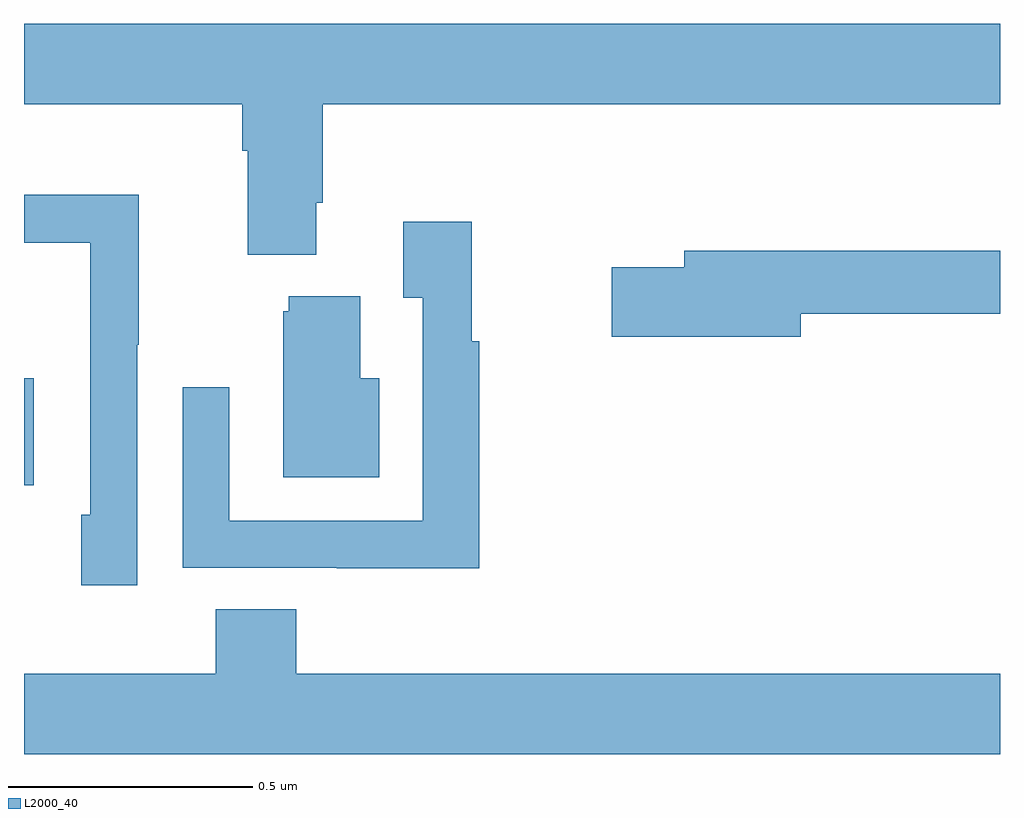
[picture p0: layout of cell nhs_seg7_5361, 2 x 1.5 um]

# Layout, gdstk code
import gdstk
lib = gdstk.Library(unit=1e-6, precision=1e-09)
def R(c, l, rs):  # rectangles x0, y0, x1, y1
    for r in rs: c.add(gdstk.rectangle(r[:2], r[2:], *l))
def P(c, l, *ps):  # polygons
    for p in ps: c.add(gdstk.Polygon(p, *l))
L2000_40 = (2000, 40)

nhs_seg7_5361 = lib.new_cell('nhs_seg7_5361')
R(nhs_seg7_5361, L2000_40, [(185,1003.831,185.02,1004.05)])
P(nhs_seg7_5361, L2000_40, [(185.599,1004.41),(185.612,1004.41),(185.612,1004.612),(187,1004.612),(187,1004.776),(185,1004.776),(185,1004.612),(185.447,1004.612),(185.447,1004.516),(185.459,1004.516),(185.459,1004.303),(185.599,1004.303)],
  [(185.232,1004.119),(185.235,1004.119),(185.235,1004.426),(185,1004.426),(185,1004.328),(185.136,1004.328),(185.136,1003.77),(185.117,1003.77),(185.117,1003.626),(185.232,1003.626)],
  [(185.933,1004.126),(185.918,1004.126),(185.918,1004.371),(185.777,1004.371),(185.777,1004.215),(185.817,1004.215),(185.817,1003.758),(185.421,1003.758),(185.421,1004.032),(185.325,1004.032),(185.325,1003.662),(185.641,1003.662),(185.641,1003.661),(185.933,1003.661)],
  [(186.592,1004.182),(187,1004.182),(187,1004.311),(186.353,1004.311),(186.353,1004.277),(186.204,1004.277),(186.204,1004.135),(186.592,1004.135)],
  [(185.728,1004.05),(185.689,1004.05),(185.689,1004.218),(185.543,1004.218),(185.543,1004.187),(185.531,1004.187),(185.531,1003.847),(185.728,1003.847)],
  [(187,1003.444),(185.558,1003.444),(185.558,1003.577),(185.393,1003.577),(185.393,1003.444),(185,1003.444),(185,1003.28),(187,1003.28)])

lib.write_gds('nhs_seg7_5361.gds')
